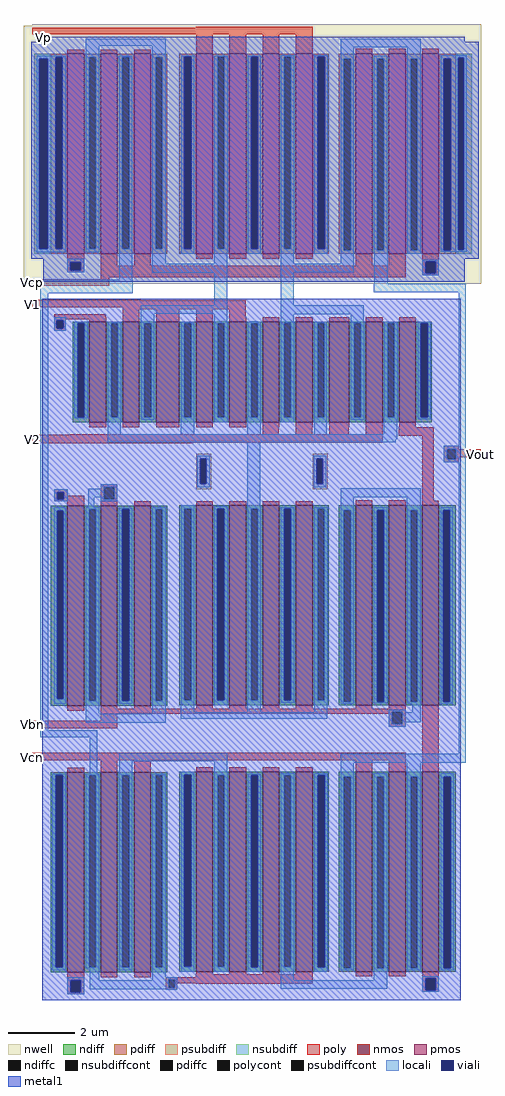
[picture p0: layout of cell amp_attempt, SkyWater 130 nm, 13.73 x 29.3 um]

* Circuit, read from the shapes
.subckt amp_attempt V1 V2 VN Vbn Vbp Vcn Vcp Vout Vp
XM1 n1 VN VN VN sky130_fd_pr__nfet_01v8 w=6 l=0.5
XM2 Vbn VN VN VN sky130_fd_pr__nfet_01v8 w=6 l=0.5 m=2
XM3 n2 VN VN VN sky130_fd_pr__nfet_01v8 w=3.01 l=0.5 m=2
XM4 n3 Vcn n1 VN sky130_fd_pr__nfet_01v8 w=6 l=0.5 m=2
XM5 VN Vbn Vbn VN sky130_fd_pr__nfet_01v8 w=6 l=0.5 m=4
XM6 n4 V1 n2 VN sky130_fd_pr__nfet_01v8 w=3.01 l=0.5 m=3
XM7 n2 V1 n4 VN sky130_fd_pr__nfet_01v8 w=3.01 l=0.7
XM8 n3 n1 VN VN sky130_fd_pr__nfet_01v8 w=6 l=0.5 m=2
XM9 VN Vbn n2 VN sky130_fd_pr__nfet_01v8 w=6 l=0.5 m=4
XM10 n5 n1 VN VN sky130_fd_pr__nfet_01v8 w=6 l=0.5 m=2
XM11 n6 V2 n2 VN sky130_fd_pr__nfet_01v8 w=3.01 l=0.5 m=3
XM12 n6 V2 n2 VN sky130_fd_pr__nfet_01v8 w=3.01 l=0.6
XM13 n5 Vcn Vout VN sky130_fd_pr__nfet_01v8 w=6 l=0.5 m=2
XM14 VN VN Vout VN sky130_fd_pr__nfet_01v8 w=6 l=0.5
XM15 n4 Vp Vp Vp sky130_fd_pr__pfet_01v8 w=6 l=0.5
XM16 n1 Vcp n4 Vp sky130_fd_pr__pfet_01v8 w=6 l=0.5 m=2
XM17 n4 Vbp Vp Vp sky130_fd_pr__pfet_01v8 w=6 l=0.5 m=2
XM18 n6 Vbp Vp Vp sky130_fd_pr__pfet_01v8 w=6 l=0.5 m=2
XM19 Vout Vcp n6 Vp sky130_fd_pr__pfet_01v8 w=6 l=0.5 m=2
XM20 Vp Vp n6 Vp sky130_fd_pr__pfet_01v8 w=6 l=0.5
.ends

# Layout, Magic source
magic
tech sky130A
<< nwell >>
rect -68 2495 1201 2496
rect -90 2491 1257 2495
rect -116 1716 1257 2491
<< nmos >>
rect 81 1301 131 1602
rect 181 1301 231 1602
rect 281 1301 351 1602
rect 401 1301 451 1602
rect 501 1301 551 1602
rect 601 1301 651 1602
rect 701 1301 751 1602
rect 801 1301 861 1602
rect 911 1301 961 1602
rect 1011 1301 1061 1602
rect 15 450 65 1050
rect 115 450 165 1050
rect 215 450 265 1050
rect 401 451 451 1051
rect 501 451 551 1051
rect 601 451 651 1051
rect 701 451 751 1051
rect 880 451 930 1051
rect 980 451 1030 1051
rect 1080 451 1130 1051
rect 15 -350 65 250
rect 115 -350 165 250
rect 215 -350 265 250
rect 401 -349 451 251
rect 501 -349 551 251
rect 601 -349 651 251
rect 701 -349 751 251
rect 880 -349 930 251
rect 980 -349 1030 251
rect 1080 -349 1130 251
<< pmos >>
rect 15 1806 65 2406
rect 115 1806 165 2406
rect 215 1806 265 2406
rect 401 1807 451 2407
rect 501 1807 551 2407
rect 601 1807 651 2407
rect 701 1807 751 2407
rect 880 1807 930 2407
rect 980 1807 1030 2407
rect 1080 1807 1130 2407
<< ndiff >>
rect 245 1602 267 1603
rect 465 1602 487 1603
rect 565 1602 587 1603
rect 31 1598 81 1602
rect 31 1316 46 1598
rect 66 1316 81 1598
rect 31 1301 81 1316
rect 131 1597 181 1602
rect 131 1316 146 1597
rect 166 1316 181 1597
rect 131 1301 181 1316
rect 231 1598 281 1602
rect 231 1316 246 1598
rect 266 1316 281 1598
rect 231 1301 281 1316
rect 351 1597 401 1602
rect 351 1316 366 1597
rect 386 1316 401 1597
rect 351 1301 401 1316
rect 451 1598 501 1602
rect 451 1316 466 1598
rect 486 1316 501 1598
rect 451 1301 501 1316
rect 551 1598 601 1602
rect 551 1316 566 1598
rect 586 1316 601 1598
rect 551 1301 601 1316
rect 651 1597 701 1602
rect 651 1316 666 1597
rect 686 1316 701 1597
rect 651 1301 701 1316
rect 751 1597 801 1602
rect 751 1316 766 1597
rect 786 1316 801 1597
rect 751 1301 801 1316
rect 861 1597 911 1602
rect 861 1316 876 1597
rect 896 1316 911 1597
rect 861 1301 911 1316
rect 961 1597 1011 1602
rect 961 1316 976 1597
rect 996 1316 1011 1597
rect 961 1301 1011 1316
rect 1061 1597 1109 1602
rect 1061 1316 1076 1597
rect 1096 1316 1109 1597
rect 1061 1301 1109 1316
rect -35 1035 15 1050
rect -35 470 -15 1035
rect 2 470 15 1035
rect -35 450 15 470
rect 65 1040 115 1050
rect 65 465 80 1040
rect 100 465 115 1040
rect 65 450 115 465
rect 165 1040 215 1050
rect 165 465 180 1040
rect 200 465 215 1040
rect 165 450 215 465
rect 265 1040 315 1050
rect 265 465 280 1040
rect 300 465 315 1040
rect 265 450 315 465
rect 351 1041 401 1051
rect 351 466 366 1041
rect 386 466 401 1041
rect 351 451 401 466
rect 451 1041 501 1051
rect 451 466 466 1041
rect 486 466 501 1041
rect 451 451 501 466
rect 551 1041 601 1051
rect 551 466 566 1041
rect 586 466 601 1041
rect 551 451 601 466
rect 651 1041 701 1051
rect 651 466 666 1041
rect 686 466 701 1041
rect 651 451 701 466
rect 751 1041 799 1051
rect 751 466 766 1041
rect 786 466 799 1041
rect 751 451 799 466
rect 830 1036 880 1051
rect 830 461 845 1036
rect 865 461 880 1036
rect 830 451 880 461
rect 930 1036 980 1051
rect 930 461 945 1036
rect 965 461 980 1036
rect 930 451 980 461
rect 1030 1036 1080 1051
rect 1030 461 1045 1036
rect 1065 461 1080 1036
rect 1030 451 1080 461
rect 1130 1036 1180 1051
rect 1130 461 1143 1036
rect 1163 461 1180 1036
rect 1130 451 1180 461
rect -35 240 15 250
rect -35 -335 -20 240
rect 0 -335 15 240
rect -35 -350 15 -335
rect 65 240 115 250
rect 65 -335 80 240
rect 100 -335 115 240
rect 65 -350 115 -335
rect 165 240 215 250
rect 165 -335 180 240
rect 200 -335 215 240
rect 165 -350 215 -335
rect 265 240 315 250
rect 265 -335 280 240
rect 300 -335 315 240
rect 265 -350 315 -335
rect 351 241 401 251
rect 351 -334 366 241
rect 386 -334 401 241
rect 351 -349 401 -334
rect 451 241 501 251
rect 451 -334 466 241
rect 486 -334 501 241
rect 451 -349 501 -334
rect 551 241 601 251
rect 551 -334 566 241
rect 586 -334 601 241
rect 551 -349 601 -334
rect 651 241 701 251
rect 651 -334 666 241
rect 686 -334 701 241
rect 651 -349 701 -334
rect 751 241 799 251
rect 751 -334 766 241
rect 786 -334 799 241
rect 751 -349 799 -334
rect 830 236 880 251
rect 830 -339 845 236
rect 865 -339 880 236
rect 830 -349 880 -339
rect 930 236 980 251
rect 930 -339 945 236
rect 965 -339 980 236
rect 930 -349 980 -339
rect 1030 236 1080 251
rect 1030 -339 1045 236
rect 1065 -339 1080 236
rect 1030 -349 1080 -339
rect 1130 236 1180 251
rect 1130 -339 1145 236
rect 1165 -339 1180 236
rect 1130 -349 1180 -339
<< pdiff >>
rect -35 2396 15 2406
rect -35 1821 -20 2396
rect 0 1821 15 2396
rect -35 1806 15 1821
rect 65 2396 115 2406
rect 65 1821 80 2396
rect 100 1821 115 2396
rect 65 1806 115 1821
rect 165 2396 215 2406
rect 165 1821 180 2396
rect 200 1821 215 2396
rect 165 1806 215 1821
rect 265 2396 315 2406
rect 265 1821 280 2396
rect 300 1821 315 2396
rect 265 1806 315 1821
rect 351 2397 401 2407
rect 351 1822 366 2397
rect 386 1822 401 2397
rect 351 1807 401 1822
rect 451 2397 501 2407
rect 451 1822 466 2397
rect 486 1822 501 2397
rect 451 1807 501 1822
rect 551 2397 601 2407
rect 551 1822 566 2397
rect 586 1822 601 2397
rect 551 1807 601 1822
rect 651 2397 701 2407
rect 651 1822 666 2397
rect 686 1822 701 2397
rect 651 1807 701 1822
rect 751 2397 799 2407
rect 751 1822 766 2397
rect 786 1822 799 2397
rect 751 1807 799 1822
rect 830 2392 880 2407
rect 830 1817 845 2392
rect 865 1817 880 2392
rect 830 1807 880 1817
rect 930 2392 980 2407
rect 930 1817 945 2392
rect 965 1817 980 2392
rect 930 1807 980 1817
rect 1030 2392 1080 2407
rect 1030 1817 1045 2392
rect 1065 1817 1080 2392
rect 1030 1807 1080 1817
rect 1130 2392 1180 2407
rect 1130 1817 1145 2392
rect 1165 1817 1180 2392
rect 1130 1807 1180 1817
<< ndiffc >>
rect 46 1316 66 1598
rect 146 1316 166 1597
rect 246 1316 266 1598
rect 366 1316 386 1597
rect 466 1316 486 1598
rect 566 1316 586 1598
rect 666 1316 686 1597
rect 766 1316 786 1597
rect 876 1316 896 1597
rect 976 1316 996 1597
rect 1076 1316 1096 1597
rect -15 470 2 1035
rect 80 465 100 1040
rect 180 465 200 1040
rect 280 465 300 1040
rect 366 466 386 1041
rect 466 466 486 1041
rect 566 466 586 1041
rect 666 466 686 1041
rect 766 466 786 1041
rect 845 461 865 1036
rect 945 461 965 1036
rect 1045 461 1065 1036
rect 1143 461 1163 1036
rect -20 -335 0 240
rect 80 -335 100 240
rect 180 -335 200 240
rect 280 -335 300 240
rect 366 -334 386 241
rect 466 -334 486 241
rect 566 -334 586 241
rect 666 -334 686 241
rect 766 -334 786 241
rect 845 -339 865 236
rect 945 -339 965 236
rect 1045 -339 1065 236
rect 1145 -339 1165 236
<< pdiffc >>
rect -20 1821 0 2396
rect 80 1821 100 2396
rect 180 1821 200 2396
rect 280 1821 300 2396
rect 366 1822 386 2397
rect 466 1822 486 2397
rect 566 1822 586 2397
rect 666 1822 686 2397
rect 766 1822 786 2397
rect 845 1817 865 2392
rect 945 1817 965 2392
rect 1045 1817 1065 2392
rect 1145 1817 1165 2392
<< psubdiff >>
rect 401 1191 446 1206
rect 401 1116 414 1191
rect 431 1116 446 1191
rect 401 1099 446 1116
rect 751 1191 796 1206
rect 751 1116 764 1191
rect 781 1116 796 1191
rect 751 1099 796 1116
<< nsubdiff >>
rect -85 2392 -35 2406
rect -85 1822 -70 2392
rect -44 1822 -35 2392
rect -85 1806 -35 1822
rect 1180 2395 1229 2407
rect 1180 1818 1188 2395
rect 1205 1818 1229 2395
rect 1180 1807 1229 1818
<< psubdiffcont >>
rect 414 1116 431 1191
rect 764 1116 781 1191
<< nsubdiffcont >>
rect -70 1822 -44 2392
rect 1188 1818 1205 2395
<< poly >>
rect 400 2485 751 2488
rect -90 2465 751 2485
rect 15 2406 65 2419
rect 115 2406 165 2419
rect 215 2406 265 2419
rect 401 2407 451 2465
rect 501 2407 551 2465
rect 601 2407 651 2465
rect 701 2407 751 2465
rect 880 2407 930 2422
rect 980 2407 1030 2422
rect 1080 2407 1130 2422
rect 15 1781 65 1806
rect 15 1756 23 1781
rect 55 1756 65 1781
rect 15 1751 65 1756
rect 115 1771 165 1806
rect 215 1771 265 1806
rect 401 1792 451 1807
rect 501 1792 551 1807
rect 601 1792 651 1807
rect 701 1792 751 1807
rect 880 1771 930 1807
rect 980 1771 1030 1807
rect 115 1736 1030 1771
rect 1080 1782 1130 1807
rect 1080 1747 1090 1782
rect 1120 1747 1130 1782
rect 1080 1742 1130 1747
rect 115 1730 140 1736
rect -90 1710 140 1730
rect -90 1666 235 1668
rect 401 1666 451 1667
rect -90 1646 550 1666
rect 181 1640 550 1646
rect -25 1616 130 1625
rect -25 1610 131 1616
rect -25 1606 10 1610
rect -25 1583 -17 1606
rect 2 1583 10 1606
rect 81 1602 131 1610
rect 181 1602 231 1640
rect 281 1602 351 1640
rect 401 1602 451 1640
rect 500 1616 550 1640
rect 500 1610 551 1616
rect 501 1602 551 1610
rect 601 1602 651 1615
rect 701 1602 751 1615
rect 801 1602 861 1615
rect 911 1602 961 1615
rect 1011 1602 1061 1615
rect -25 1575 10 1583
rect 81 1286 131 1301
rect 181 1286 231 1301
rect 281 1286 351 1301
rect 401 1286 451 1301
rect 501 1286 551 1301
rect 601 1286 651 1301
rect 701 1286 751 1301
rect 801 1286 861 1301
rect 601 1265 650 1286
rect 701 1265 750 1286
rect 801 1265 860 1286
rect 911 1265 961 1301
rect 1011 1286 1061 1301
rect 321 1264 961 1265
rect 21 1263 961 1264
rect -90 1240 961 1263
rect 1010 1260 1115 1286
rect -90 1239 960 1240
rect -90 1238 391 1239
rect -90 1237 196 1238
rect 115 1105 165 1115
rect -25 1090 16 1100
rect -25 1070 -15 1090
rect 4 1080 16 1090
rect 4 1070 65 1080
rect -25 1063 65 1070
rect 15 1050 65 1063
rect 115 1070 125 1105
rect 155 1070 165 1105
rect 115 1050 165 1070
rect 215 1050 265 1063
rect 401 1051 451 1064
rect 501 1051 551 1064
rect 601 1051 651 1064
rect 701 1051 751 1064
rect 880 1051 930 1066
rect 980 1051 1030 1066
rect 1080 1065 1115 1260
rect 1145 1220 1190 1230
rect 1145 1190 1155 1220
rect 1180 1195 1255 1220
rect 1180 1190 1190 1195
rect 1145 1180 1190 1190
rect 1080 1051 1130 1065
rect 15 435 65 450
rect 115 440 165 450
rect 215 440 265 450
rect 401 440 451 451
rect 501 440 551 451
rect 601 440 651 451
rect 701 440 751 451
rect 880 440 930 451
rect 980 440 1030 451
rect 115 431 1030 440
rect 115 425 990 431
rect 115 405 165 425
rect -90 382 165 405
rect 980 396 990 425
rect 1020 396 1030 431
rect 980 386 1030 396
rect -90 286 1030 308
rect 15 250 65 263
rect 115 250 165 286
rect 215 250 265 286
rect 401 251 451 264
rect 501 251 551 264
rect 601 251 651 264
rect 701 251 751 264
rect 880 251 930 286
rect 980 251 1030 286
rect 1080 251 1130 451
rect 15 -375 65 -350
rect 115 -365 165 -350
rect 215 -365 265 -350
rect 401 -357 451 -349
rect 501 -357 551 -349
rect 601 -357 651 -349
rect 701 -357 751 -349
rect 400 -365 751 -357
rect 880 -362 930 -349
rect 980 -362 1030 -349
rect 15 -410 25 -375
rect 55 -410 65 -375
rect 310 -373 751 -365
rect 310 -397 319 -373
rect 337 -384 751 -373
rect 337 -397 345 -384
rect 400 -385 751 -384
rect 1080 -369 1130 -349
rect 310 -403 345 -397
rect 1080 -404 1090 -369
rect 1120 -404 1130 -369
rect 1080 -409 1130 -404
rect 15 -417 65 -410
<< polycont >>
rect 23 1756 55 1781
rect 1090 1747 1120 1782
rect -17 1583 2 1606
rect -15 1070 4 1090
rect 125 1070 155 1105
rect 1155 1190 1180 1220
rect 990 396 1020 431
rect 25 -410 55 -375
rect 319 -397 337 -373
rect 1090 -404 1120 -369
<< locali >>
rect 70 2431 310 2451
rect -77 2396 10 2401
rect -77 2392 -20 2396
rect -77 1822 -70 2392
rect -44 1822 -20 2392
rect -77 1821 -20 1822
rect 0 1821 10 2396
rect -77 1811 10 1821
rect 70 2396 110 2431
rect 70 1821 80 2396
rect 100 1821 110 2396
rect 169 2396 210 2400
rect 169 2379 180 2396
rect 70 1811 110 1821
rect 170 1821 180 2379
rect 200 1821 210 2396
rect 15 1781 65 1792
rect 15 1756 23 1781
rect 55 1756 65 1781
rect 15 1751 65 1756
rect 170 1728 210 1821
rect 270 2396 310 2431
rect 835 2426 1076 2451
rect 270 1821 280 2396
rect 300 1821 310 2396
rect 270 1776 310 1821
rect 356 2397 396 2400
rect 356 1822 366 2397
rect 386 1822 396 2397
rect 356 1812 396 1822
rect 456 2397 496 2400
rect 456 1822 466 2397
rect 486 1822 496 2397
rect 456 1812 496 1822
rect 556 2397 596 2401
rect 556 1822 566 2397
rect 586 1822 596 2397
rect 556 1812 596 1822
rect 656 2397 696 2402
rect 656 1822 666 2397
rect 686 1822 696 2397
rect 656 1812 696 1822
rect 756 2397 796 2402
rect 756 1822 766 2397
rect 787 1822 796 2397
rect 756 1812 796 1822
rect 835 2392 875 2426
rect 835 1817 845 2392
rect 865 1817 875 2392
rect 356 1807 395 1812
rect 456 1776 495 1812
rect 556 1807 595 1812
rect 656 1790 695 1812
rect 756 1807 795 1812
rect 270 1749 495 1776
rect -55 1726 211 1728
rect -67 1687 211 1726
rect -67 376 -42 1687
rect 455 1652 495 1749
rect 235 1626 495 1652
rect -25 1606 10 1615
rect -25 1583 -17 1606
rect 2 1583 10 1606
rect 235 1602 275 1626
rect 456 1602 495 1626
rect 655 1776 695 1790
rect 835 1776 875 1817
rect 935 2392 975 2400
rect 935 1817 945 2392
rect 965 1834 975 2392
rect 1035 2393 1076 2426
rect 1135 2395 1214 2402
rect 1035 2392 1075 2393
rect 965 1817 976 1834
rect 935 1814 976 1817
rect 655 1751 875 1776
rect 655 1651 695 1751
rect 936 1716 976 1814
rect 1035 1817 1045 2392
rect 1065 1817 1075 2392
rect 1035 1807 1075 1817
rect 1135 2392 1188 2395
rect 1135 1817 1145 2392
rect 1165 1818 1188 2392
rect 1205 1818 1214 2395
rect 1165 1817 1214 1818
rect 1135 1812 1214 1817
rect 1080 1782 1130 1789
rect 1080 1747 1090 1782
rect 1120 1747 1130 1782
rect 1080 1742 1130 1747
rect 935 1691 1210 1716
rect 655 1625 905 1651
rect 565 1602 587 1603
rect 655 1602 695 1625
rect 865 1602 905 1625
rect -25 1575 10 1583
rect 36 1598 76 1602
rect 36 1316 46 1598
rect 66 1316 76 1598
rect 36 1313 76 1316
rect 136 1597 176 1602
rect 136 1316 146 1597
rect 166 1316 176 1597
rect 235 1598 276 1602
rect 235 1590 246 1598
rect 136 1306 176 1316
rect 236 1316 246 1590
rect 266 1316 276 1598
rect 236 1308 276 1316
rect 356 1597 396 1602
rect 356 1316 366 1597
rect 386 1316 396 1597
rect 356 1306 396 1316
rect 136 1265 175 1306
rect 355 1265 396 1306
rect 456 1598 496 1602
rect 456 1316 466 1598
rect 486 1316 496 1598
rect 556 1598 596 1602
rect 556 1316 566 1598
rect 586 1316 596 1598
rect 655 1597 696 1602
rect 655 1590 666 1597
rect 456 1306 496 1316
rect 456 1301 495 1306
rect 555 1265 596 1316
rect 656 1316 666 1590
rect 686 1316 696 1597
rect 656 1306 696 1316
rect 756 1597 794 1602
rect 756 1316 766 1597
rect 786 1316 794 1597
rect 865 1597 906 1602
rect 865 1592 876 1597
rect 656 1301 695 1306
rect 756 1265 794 1316
rect 866 1316 876 1592
rect 896 1316 906 1597
rect 866 1308 906 1316
rect 966 1597 1006 1602
rect 966 1316 976 1597
rect 996 1316 1006 1597
rect 966 1314 1006 1316
rect 965 1308 1006 1314
rect 1066 1597 1106 1602
rect 1066 1315 1076 1597
rect 1096 1315 1106 1597
rect 1066 1309 1106 1315
rect 965 1265 1005 1308
rect 136 1250 1005 1265
rect 136 1240 1001 1250
rect 404 1191 442 1200
rect 404 1116 414 1191
rect 431 1116 442 1191
rect 115 1105 165 1115
rect 404 1106 442 1116
rect 115 1101 125 1105
rect -25 1090 16 1100
rect -25 1070 -15 1090
rect 4 1070 16 1090
rect -25 1063 16 1070
rect 78 1075 125 1101
rect 78 1045 96 1075
rect 115 1070 125 1075
rect 155 1070 165 1105
rect 115 1063 165 1070
rect -25 1035 10 1045
rect -25 470 -15 1035
rect 2 470 10 1035
rect -25 455 10 470
rect 70 1040 110 1045
rect 70 465 80 1040
rect 100 465 110 1040
rect 169 1040 210 1044
rect 169 1023 180 1040
rect 70 425 110 465
rect 170 465 180 1023
rect 200 465 210 1040
rect 170 455 210 465
rect 270 1040 310 1045
rect 270 465 280 1040
rect 300 465 310 1040
rect 270 425 310 465
rect 356 1041 396 1051
rect 356 466 366 1041
rect 386 466 396 1041
rect 356 458 396 466
rect 70 398 310 425
rect 355 456 396 458
rect 456 1046 495 1049
rect 456 1041 496 1046
rect 456 466 465 1041
rect 486 466 496 1041
rect 555 1045 594 1240
rect 1190 1230 1210 1691
rect 1145 1220 1210 1230
rect 754 1191 792 1200
rect 754 1116 764 1191
rect 781 1116 792 1191
rect 1145 1190 1155 1220
rect 1180 1190 1210 1220
rect 1145 1180 1210 1190
rect 754 1106 792 1116
rect 835 1076 1075 1103
rect 555 1041 596 1045
rect 555 1040 566 1041
rect 556 466 566 1040
rect 586 466 596 1041
rect 456 456 496 466
rect 355 430 395 456
rect 456 451 495 456
rect 555 430 596 466
rect 656 1041 696 1046
rect 656 466 666 1041
rect 686 466 696 1041
rect 656 458 696 466
rect 756 1041 796 1046
rect 756 466 766 1041
rect 786 466 796 1041
rect 756 456 796 466
rect 835 1036 875 1076
rect 835 461 845 1036
rect 865 461 875 1036
rect 835 456 875 461
rect 935 1036 975 1046
rect 1034 1042 1075 1076
rect 935 461 945 1036
rect 965 478 975 1036
rect 1035 1036 1075 1042
rect 965 461 976 478
rect 935 457 976 461
rect 1035 461 1045 1036
rect 1065 461 1075 1036
rect 1035 456 1075 461
rect 1135 1036 1172 1046
rect 1135 461 1143 1036
rect 1163 461 1172 1036
rect 1135 456 1172 461
rect 756 430 795 456
rect 355 410 795 430
rect 980 431 1030 438
rect 980 396 990 431
rect 1020 430 1030 431
rect 1050 430 1075 456
rect 1020 400 1075 430
rect 1020 396 1030 400
rect 980 386 1030 396
rect -67 355 105 376
rect 1190 365 1210 1180
rect 82 245 105 355
rect 170 282 495 307
rect 1189 305 1210 365
rect 170 250 210 282
rect -30 240 10 245
rect -30 -335 -20 240
rect 1 -335 10 240
rect -30 -345 10 -335
rect 70 240 110 245
rect 70 -335 80 240
rect 100 -335 110 240
rect 169 240 210 250
rect 169 223 180 240
rect 70 -338 110 -335
rect 82 -341 110 -338
rect 170 -335 180 223
rect 200 -335 210 240
rect 15 -375 65 -365
rect 15 -410 25 -375
rect 55 -410 65 -375
rect 82 -375 111 -341
rect 170 -345 210 -335
rect 270 240 310 245
rect 270 -335 280 240
rect 300 -335 310 240
rect 270 -365 310 -335
rect 356 242 396 251
rect 356 -333 365 242
rect 356 -334 366 -333
rect 386 -334 396 242
rect 455 246 495 282
rect 835 278 1210 305
rect 455 241 496 246
rect 455 240 466 241
rect 356 -344 396 -334
rect 456 -334 466 240
rect 486 -334 496 241
rect 456 -344 496 -334
rect 556 241 596 245
rect 556 -335 566 241
rect 586 240 596 241
rect 587 -335 596 240
rect 556 -344 596 -335
rect 656 241 696 246
rect 656 -334 666 241
rect 686 -334 696 241
rect 656 -344 696 -334
rect 756 241 796 246
rect 756 -335 766 241
rect 786 240 796 241
rect 787 -335 796 240
rect 756 -344 796 -335
rect 835 236 875 278
rect 835 -339 845 236
rect 865 -339 875 236
rect 835 -344 875 -339
rect 935 236 975 246
rect 1034 242 1075 278
rect 935 -339 945 236
rect 965 -322 975 236
rect 1035 236 1075 242
rect 965 -339 976 -322
rect 356 -349 395 -344
rect 456 -349 495 -344
rect 556 -349 595 -344
rect 270 -373 345 -365
rect 270 -375 319 -373
rect 82 -397 319 -375
rect 337 -397 345 -373
rect 82 -402 345 -397
rect 656 -375 695 -344
rect 756 -349 795 -344
rect 935 -349 976 -339
rect 1035 -339 1045 236
rect 1065 -339 1075 236
rect 1035 -344 1075 -339
rect 1135 236 1175 246
rect 1135 -339 1145 236
rect 1166 -339 1175 236
rect 1135 -344 1175 -339
rect 935 -375 975 -349
rect 656 -400 975 -375
rect 1080 -369 1130 -362
rect 310 -403 345 -402
rect 1080 -404 1090 -369
rect 1120 -404 1130 -369
rect 1080 -409 1130 -404
rect 15 -417 65 -410
<< viali >>
rect -70 1822 -44 2392
rect -20 1821 0 2396
rect 23 1756 55 1781
rect 366 1822 386 2397
rect 566 1822 586 2397
rect 767 1822 786 2397
rect 786 1822 787 2397
rect -17 1583 2 1606
rect 1145 1817 1165 2392
rect 1188 1818 1205 2395
rect 1090 1747 1120 1782
rect 46 1316 66 1598
rect 1076 1316 1096 1597
rect 1076 1315 1096 1316
rect 414 1116 431 1191
rect -15 1070 4 1090
rect -15 470 2 1035
rect 180 465 200 1040
rect 465 466 466 1041
rect 466 466 485 1041
rect 764 1116 781 1191
rect 666 466 686 1041
rect 945 461 965 1036
rect 1143 461 1163 1036
rect -20 -335 0 240
rect 0 -335 1 240
rect 25 -410 55 -375
rect 365 241 386 242
rect 365 -333 366 241
rect 366 -333 386 241
rect 566 -334 586 240
rect 586 -334 587 240
rect 566 -335 587 -334
rect 766 -334 786 240
rect 786 -334 787 240
rect 766 -335 787 -334
rect 1145 -339 1165 236
rect 1165 -339 1166 236
rect 1090 -404 1120 -369
<< metal1 >>
rect -58 2443 1208 2458
rect -94 2397 1250 2443
rect -94 2396 366 2397
rect -94 2392 -20 2396
rect -94 1822 -70 2392
rect -44 1822 -20 2392
rect -94 1821 -20 1822
rect 0 1822 366 2396
rect 386 1822 566 2397
rect 586 1822 767 2397
rect 787 2395 1250 2397
rect 787 2392 1188 2395
rect 787 1822 1145 2392
rect 0 1821 1145 1822
rect -94 1817 1145 1821
rect 1165 1818 1188 2392
rect 1205 1818 1250 2395
rect 1165 1817 1250 1818
rect -94 1792 1250 1817
rect -94 1791 1208 1792
rect -58 1782 1208 1791
rect -58 1781 1090 1782
rect -58 1756 23 1781
rect 55 1756 1090 1781
rect -58 1747 1090 1756
rect 1120 1747 1208 1782
rect -58 1722 1208 1747
rect -60 1606 1196 1671
rect -60 1583 -17 1606
rect 2 1598 1196 1606
rect 2 1583 46 1598
rect -60 1316 46 1583
rect 66 1597 1196 1598
rect 66 1316 1076 1597
rect -60 1315 1076 1316
rect 1096 1315 1196 1597
rect -60 1191 1196 1315
rect -60 1116 414 1191
rect 431 1116 764 1191
rect 781 1116 1196 1191
rect -60 1090 1196 1116
rect -60 1070 -15 1090
rect 4 1070 1196 1090
rect -60 1041 1196 1070
rect -60 1040 465 1041
rect -60 1035 180 1040
rect -60 470 -15 1035
rect 2 470 180 1035
rect -60 465 180 470
rect 200 466 465 1040
rect 485 466 666 1041
rect 686 1036 1196 1041
rect 686 466 945 1036
rect 200 465 945 466
rect -60 461 945 465
rect 965 461 1143 1036
rect 1163 461 1196 1036
rect -60 242 1196 461
rect -60 240 365 242
rect -60 -335 -20 240
rect 1 -333 365 240
rect 386 240 1196 242
rect 386 -333 566 240
rect 1 -335 566 -333
rect 587 -335 766 240
rect 787 236 1196 240
rect 787 -335 1145 236
rect -60 -339 1145 -335
rect 1166 -339 1196 236
rect -60 -369 1196 -339
rect -60 -375 1090 -369
rect -60 -410 25 -375
rect 55 -404 1090 -375
rect 1120 -404 1196 -369
rect 55 -410 1196 -404
rect -60 -434 1196 -410
<< labels >>
rlabel poly -90 1655 -90 1655 7 V1
rlabel poly -90 1720 -90 1720 7 Vcp
rlabel metal1 -58 2455 -58 2455 7 Vp
rlabel poly -90 2475 -90 2475 7 Vbp
rlabel poly -90 1250 -90 1250 7 V2
rlabel poly 1255 1205 1255 1205 3 Vout
rlabel poly -90 392 -90 392 3 Vbn
rlabel poly -90 294 -90 294 3 Vcn
rlabel metal1 -60 330 -60 330 7 VN
<< end >>
